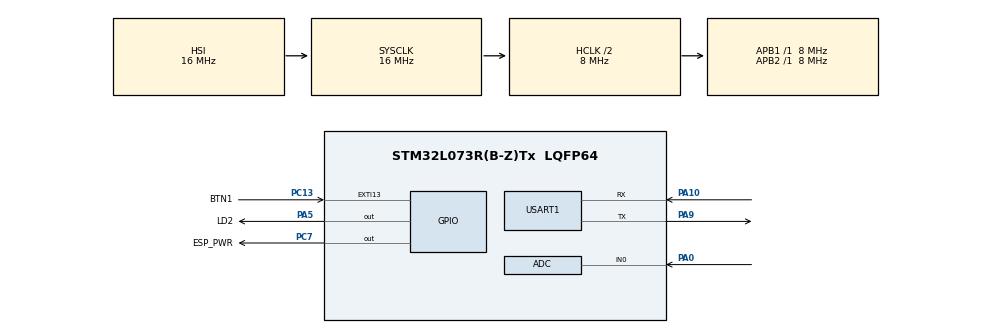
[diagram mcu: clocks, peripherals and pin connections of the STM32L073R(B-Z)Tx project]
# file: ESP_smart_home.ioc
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Mcu.Family=STM32L0
PH0-OSC_IN.Signal=RCC_OSC_IN
Dma.ADC.2.PeriphInc=DMA_PINC_DISABLE
Dma.USART1_TX.1.MemInc=DMA_MINC_ENABLE
PC13.GPIO_Label=BTN1
PA5.PinState=GPIO_PIN_RESET
Dma.ADC.2.Mode=DMA_CIRCULAR
RCC.SYSCLKSource=RCC_SYSCLKSOURCE_HSI
ProjectManager.StackSize=0x400
ADC.DiscontinuousConvMode=DISABLE
RCC.HCLKFreq_Value=8000000
RCC.APB2TimFreq_Value=8000000
PC7.Signal=GPIO_Output
RCC.AHBFreq_Value=8000000
PH0-OSC_IN.Mode=HSE-External-Clock-Source
Dma.USART1_RX.0.Priority=DMA_PRIORITY_LOW
ADC.SamplingTime=ADC_SAMPLETIME_160CYCLES_5
RCC.HSE_VALUE=8000000
Dma.ADC.2.Priority=DMA_PRIORITY_LOW
PC14-OSC32_IN.Mode=LSE-External-Oscillator
PA14.Mode=Serial_Wire
PA5.GPIO_PuPd=GPIO_NOPULL
PA0.Mode=IN0
PC13.GPIO_PuPd=GPIO_NOPULL
TIM6.Period=999
Dma.ADC.2.Direction=DMA_PERIPH_TO_MEMORY
Dma.USART1_RX.0.MemInc=DMA_MINC_ENABLE
Dma.USART1_TX.1.PeriphDataAlignment=DMA_PDATAALIGN_BYTE
PA0.Signal=ADC_IN0
Dma.ADC.2.MemInc=DMA_MINC_ENABLE
Mcu.Package=LQFP64
PA10.Signal=USART1_RX
Dma.Request2=ADC
Dma.Request1=USART1_TX
RCC.APB1TimFreq_Value=8000000
Dma.USART1_RX.0.Mode=DMA_NORMAL
Dma.USART1_TX.1.Priority=DMA_PRIORITY_LOW
NVIC.USART1_IRQn=true\:0\:0\:false\:false\:true\:true\:true
Dma.Request0=USART1_RX
ADC.ExternalTrigConv=ADC_EXTERNALTRIGCONV_T6_TRGO
Dma.USART1_RX.0.Instance=DMA1_Channel3
RCC.HSI48_VALUE=48000000
Dma.USART1_TX.1.Direction=DMA_MEMORY_TO_PERIPH
RCC.MSI_VALUE=2097000
PC15-OSC32_OUT.Mode=LSE-External-Oscillator
Dma.USART1_TX.1.Instance=DMA1_Channel2
Dma.USART1_RX.0.PeriphDataAlignment=DMA_PDATAALIGN_BYTE
PA10.Mode=Asynchronous
Dma.ADC.2.PeriphDataAlignment=DMA_PDATAALIGN_HALFWORD
PC13.Signal=GPXTI13
TIM6.Prescaler=7999
VP_TIM6_VS_ClockSourceINT.Mode=Enable_Timer
PC14-OSC32_IN.Signal=RCC_OSC32_IN
ADC.ClockPrescaler=ADC_CLOCK_ASYNC_DIV64
Dma.ADC.2.MemDataAlignment=DMA_MDATAALIGN_HALFWORD
USART1.VirtualMode-Asynchronous=VM_ASYNC
PA13.Signal=SYS_SWDIO
RCC.HSI16_VALUE=16000000
PA9.Mode=Asynchronous
ProjectManager.TargetToolchain=STM32CubeIDE
Dma.USART1_RX.0.Direction=DMA_PERIPH_TO_MEMORY
PA9.Signal=USART1_TX
ADC.OversamplingMode=DISABLE
PC15-OSC32_OUT.Signal=RCC_OSC32_OUT
Dma.USART1_RX.0.PeriphInc=DMA_PINC_DISABLE
PA5.Signal=GPIO_Output
ADC.DMAContinuousRequests=ENABLE
Dma.USART1_TX.1.MemDataAlignment=DMA_MDATAALIGN_BYTE
board=NUCLEO-L073RZ
RCC.VCOOutputFreq_Value=48000000
RCC.APB2Freq_Value=8000000
PA5.GPIO_ModeDefaultOutputPP=GPIO_MODE_OUTPUT_PP
TIM6.TIM_MasterOutputTrigger=TIM_TRGO_UPDATE
Dma.USART1_RX.0.MemDataAlignment=DMA_MDATAALIGN_BYTE
RCC.AHBCLKDivider=RCC_SYSCLK_DIV2
PA13.Mode=Serial_Wire
Mcu.Name=STM32L073R(B-Z)Tx
PC7.GPIO_Label=ESP_PWR
RCC.SYSCLKFreq_VALUE=16000000
PA5.GPIO_Label=LD2
PC13.GPIO_ModeDefaultEXTI=GPIO_MODE_IT_RISING
Dma.USART1_TX.1.Mode=DMA_NORMAL
PA14.Signal=SYS_SWCLK
ProjectManager.HeapSize=0x200
Dma.USART1_TX.1.PeriphInc=DMA_PINC_DISABLE
RCC.HSI_VALUE=16000000
PA5.GPIO_Speed=GPIO_SPEED_FREQ_LOW
NVIC.DMA1_Channel2_3_IRQn=true\:0\:0\:false\:false\:true\:false\:true
NVIC.DMA1_Channel1_IRQn=true\:0\:0\:false\:false\:true\:false\:true
RCC.APB1Freq_Value=8000000
Dma.ADC.2.Instance=DMA1_Channel1

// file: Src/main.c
/* USER CODE BEGIN Header */
/**
  ******************************************************************************
  * @file           : main.c
  * @brief          : Main program body
  ******************************************************************************
  * @attention
  *
  * <h2><center>&copy; Copyright (c) 2019 STMicroelectronics.
  * All rights reserved.</center></h2>
  *
  * This software component is licensed by ST under BSD 3-Clause license,
  * the "License"; You may not use this file except in compliance with the
  * License. You may obtain a copy of the License at:
  *                        opensource.org/licenses/BSD-3-Clause
  *
  ******************************************************************************
  */
/* USER CODE END Header */

#include "main.h"
#include "adc.h"
#include "dma.h"
#include "tim.h"
#include "usart.h"
#include "gpio.h"

/* USER CODE BEGIN Includes */
#include "esp01.h"
#include "tasker.h"
#include "t_sensor.h"
/* USER CODE END Includes */

/* USER CODE BEGIN PV */
uint32_t counter = 0;
/* USER CODE END PV */

void SystemClock_Config(void);
/* USER CODE BEGIN PFP */

void HAL_UART_RxCpltCallback(UART_HandleTypeDef *huart) {
	if (huart == &ESP_UART){
		esp_uart_callback();
	}
}

void sendTemp(){
	if (esp_ready()){
		esp_send_data(sensor_getTemp());
	}
}

/* USER CODE END PFP */

int main(void)
{

  /* MCU Configuration--------------------------------------------------------*/

  /* Reset of all peripherals, Initializes the Flash interface and the Systick. */
  HAL_Init();

  /* Configure the system clock */
  SystemClock_Config();

  /* Initialize all configured peripherals */
  MX_GPIO_Init();
  MX_TIM6_Init();
  MX_USART1_UART_Init();
  MX_DMA_Init();
  MX_ADC_Init();
  /* USER CODE BEGIN 2 */

  LD2_GPIO_Port->BSRR = LD2_Pin;

  esp_power_on();
  esp_set_id(53);
  esp_initialize();

  Task esp_check_task = task_make(2000, esp_check_connection);
  Task wps_task = task_make(5000, esp_wps);
  Task send_temp_task = task_make(2033, sendTemp);

  task_start(esp_check_task);
  task_start(send_temp_task);

  sensor_init();

  /* USER CODE END 2 */

  /* Infinite loop */
  /* USER CODE BEGIN WHILE */
  while (1)
  {

	  if (!HAL_GPIO_ReadPin(BTN1_GPIO_Port, BTN1_Pin)){
		  task_start(wps_task);
	  }
	  else{
		  task_stop(wps_task);
	  }

	  task_state(wps_task, NULL);
	  task_state(esp_check_task, NULL);
	  task_state(send_temp_task, NULL);

    /* USER CODE END WHILE */

  }
}

void SystemClock_Config(void)
{
  RCC_OscInitTypeDef RCC_OscInitStruct = {0};
  RCC_ClkInitTypeDef RCC_ClkInitStruct = {0};
  RCC_PeriphCLKInitTypeDef PeriphClkInit = {0};

  /** Configure the main internal regulator output voltage
  */
  __HAL_PWR_VOLTAGESCALING_CONFIG(PWR_REGULATOR_VOLTAGE_SCALE1);
  /** Initializes the CPU, AHB and APB busses clocks
  */
  RCC_OscInitStruct.OscillatorType = RCC_OSCILLATORTYPE_HSI;
  RCC_OscInitStruct.HSIState = RCC_HSI_ON;
  RCC_OscInitStruct.HSICalibrationValue = RCC_HSICALIBRATION_DEFAULT;
  RCC_OscInitStruct.PLL.PLLState = RCC_PLL_NONE;
  if (HAL_RCC_OscConfig(&RCC_OscInitStruct) != HAL_OK)
  {
    Error_Handler();
  }
  /** Initializes the CPU, AHB and APB busses clocks
  */
  RCC_ClkInitStruct.ClockType = RCC_CLOCKTYPE_HCLK|RCC_CLOCKTYPE_SYSCLK
                              |RCC_CLOCKTYPE_PCLK1|RCC_CLOCKTYPE_PCLK2;
  RCC_ClkInitStruct.SYSCLKSource = RCC_SYSCLKSOURCE_HSI;
  RCC_ClkInitStruct.AHBCLKDivider = RCC_SYSCLK_DIV2;
  RCC_ClkInitStruct.APB1CLKDivider = RCC_HCLK_DIV1;
  RCC_ClkInitStruct.APB2CLKDivider = RCC_HCLK_DIV1;

  if (HAL_RCC_ClockConfig(&RCC_ClkInitStruct, FLASH_LATENCY_0) != HAL_OK)
  {
    Error_Handler();
  }
  PeriphClkInit.PeriphClockSelection = RCC_PERIPHCLK_USART1;
  PeriphClkInit.Usart1ClockSelection = RCC_USART1CLKSOURCE_PCLK2;
  if (HAL_RCCEx_PeriphCLKConfig(&PeriphClkInit) != HAL_OK)
  {
    Error_Handler();
  }
}

void Error_Handler(void)
{
}

/************************ (C) COPYRIGHT STMicroelectronics *****END OF FILE****/
